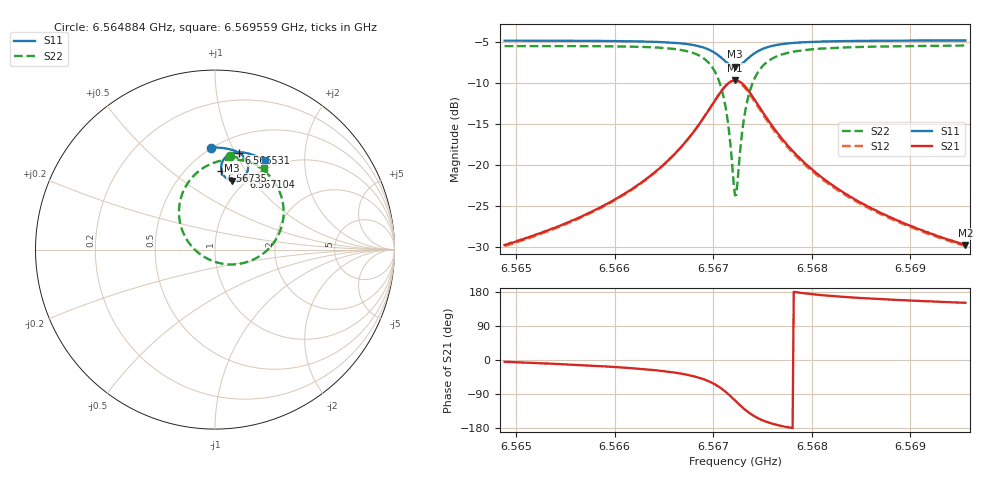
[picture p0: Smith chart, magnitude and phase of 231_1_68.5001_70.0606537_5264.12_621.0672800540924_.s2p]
#  HZ  S  RI  R  50.00
! Rohde & Schwarz Vector Network Analyzer
! Rohde-Schwarz,ZNB20-2Port,1311601062101988,3.16
! Created: UTC 3/20/2024, 5:14:03 PM
! freq[Hz]  re:S11  im:S11  re:S21  im:S21  re:S12  im:S12  re:S22  im:S22
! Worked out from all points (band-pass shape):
!   401 points, 6.564884 GHz to 6.569559 GHz, reference 50 ohm
!   highest |S21| = -9.73 dB at 6.567221 GHz (marker M1); lowest = -29.8 dB at 6.569559 GHz (marker M2)
!   |S21| within 3 dB of the highest: 6.566988 GHz to 6.567456 GHz (467.3 kHz wide, 0.00712 % of centre)
!   lowest |S11| = -8.1 dB at 6.567221 GHz (marker M3), VSWR 2.31, Z = 43.4 + j39.5 ohm
!   |S11| at or under -10 dB: nowhere
!   |S22| runs from -23.7 to -5.5 dB; largest |S21 - S12| = 0.017
!   S11 on the Smith chart (normalised r, x): 6.564884 GHz: 0.49, +0.83; 6.566531 GHz: 0.66, +1.03; 6.567104 GHz: 0.94, +0.94; 6.56735 GHz: 0.72, +0.78; 6.569559 GHz: 0.88, +1.29
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6.5648835e9  -0.0217 0.5687  0.0325 -0.00271  0.0319 -0.00314  0.0814 0.5207
6.5656666e9  0.0445 0.5658  0.0471 -0.0114  0.0465 -0.0121  0.1618 0.5014
6.566099e9  0.0853 0.5583  0.0625 -0.0229  0.0616 -0.0236  0.2194 0.4762
6.5664496e9  0.1232 0.5448  0.0836 -0.0443  0.0824 -0.0454  0.2819 0.4323
6.5665315e9  0.133 0.5394  0.0904 -0.0531  0.089 -0.0542  0.2997 0.4147
6.5667652e9  0.1638 0.5137  0.1129 -0.0968  0.1112 -0.099  0.3571 0.3292
6.5669288e9  0.1824 0.4759  0.1214 -0.1634  0.1182 -0.1671  0.3822 0.201
6.567034e9  0.1809 0.4358  0.1003 -0.2338  0.0935 -0.2386  0.3455 0.0668
6.5671041e9  0.1626 0.4049  0.0539 -0.2865  0.0427 -0.29  0.2577 -0.0301
6.5671509e9  0.1391 0.3886  0.00262 -0.3122  -0.0114 -0.3127  0.1617 -0.074
6.5671976e9  0.1083 0.3823  -0.061 -0.3188  -0.0763 -0.3144  0.0455 -0.0793
6.567221e9  0.0921 0.3842  -0.0938 -0.3125  -0.1088 -0.3053  -0.0128 -0.0639
6.5672444e9  0.0768 0.3896  -0.1249 -0.3001  -0.1386 -0.29  -0.0662 -0.0372
6.5673028e9  0.0473 0.4149  -0.1842 -0.2476  -0.1923 -0.2338  -0.1625 0.064
6.5673496e9  0.0362 0.4406  -0.2082 -0.1971  -0.2116 -0.183  -0.196 0.1559
6.5674431e9  0.0395 0.4852  -0.2097 -0.1113  -0.2076 -0.1005  -0.1842 0.3057
6.5675833e9  0.0672 0.5217  -0.1727 -0.0405  -0.1689 -0.0345  -0.1054 0.4244
6.567747e9  0.0993 0.5376  -0.1328 -0.00698  -0.1293 -0.00382  -0.0226 0.4775
6.5680041e9  0.1383 0.5422  -0.0931 0.0103  -0.0906 0.0117  0.0648 0.5
6.5683197e9  0.1746 0.5378  -0.0662 0.0157  -0.0646 0.0164  0.1323 0.4998
6.5687872e9  0.2178 0.5254  -0.0452 0.0168  -0.0442 0.0172  0.1988 0.4862
6.5695585e9  0.2776 0.4986  -0.0284 0.0157  -0.0277 0.016  0.2741 0.4552
